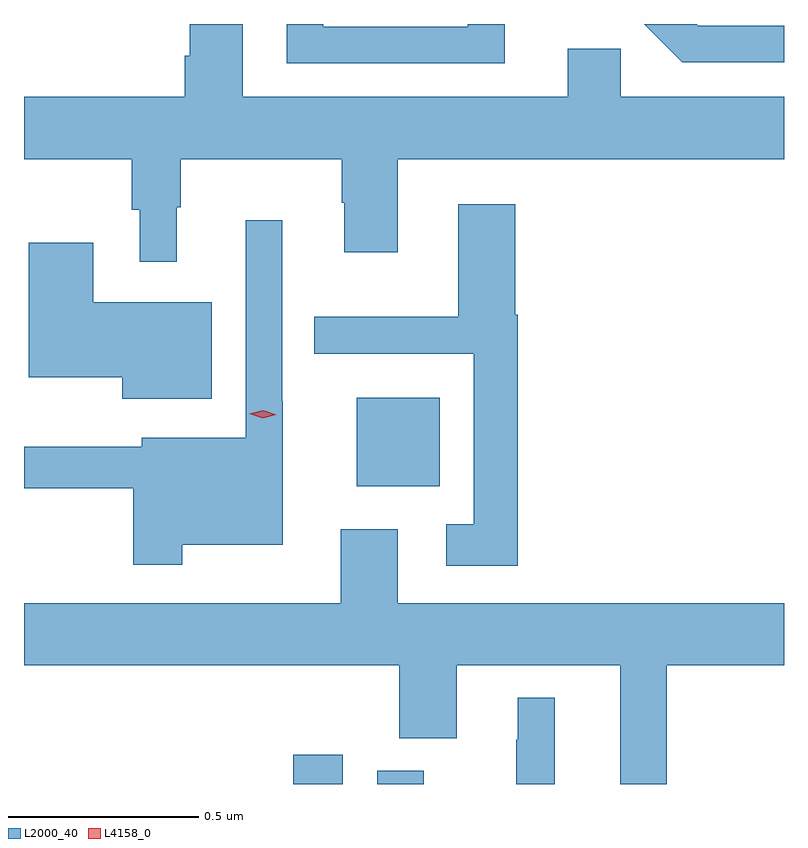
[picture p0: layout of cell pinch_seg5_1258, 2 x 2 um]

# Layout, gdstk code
import gdstk
lib = gdstk.Library(unit=1e-6, precision=1e-09)
def R(c, l, rs):  # rectangles x0, y0, x1, y1
    for r in rs: c.add(gdstk.rectangle(r[:2], r[2:], *l))
def P(c, l, *ps):  # polygons
    for p in ps: c.add(gdstk.Polygon(p, *l))
L2000_40 = (2000, 40)
L4158_0 = (4158, 0)

pinch_seg5_1258 = lib.new_cell('pinch_seg5_1258')
R(pinch_seg5_1258, L2000_40, [(490.592,884.42,490.723,884.497), (490.814,884.42,490.936,884.455), (490.76,885.203,490.978,885.436)])
P(pinch_seg5_1258, L2000_40, [(490.286,885.938),(490.297,885.938),(490.297,886.064),(490.72,886.064),(490.72,885.95),(490.727,885.95),(490.727,885.819),(490.867,885.819),(490.867,886.064),(491.884,886.064),(491.884,886.228),(491.454,886.228),(491.454,886.355),(491.315,886.355),(491.315,886.228),(490.459,886.228),(490.459,886.42),(490.32,886.42),(490.32,886.337),(490.307,886.337),(490.307,886.228),(489.884,886.228),(489.884,886.064),(490.168,886.064),(490.168,885.931),(490.188,885.931),(490.188,885.795),(490.286,885.795)],
  [(491.149,886.42),(491.052,886.42),(491.052,886.413),(490.671,886.413),(490.671,886.42),(490.575,886.42),(490.575,886.317),(491.149,886.317)],
  [(491.884,886.416),(491.658,886.416),(491.654,886.42),(491.516,886.42),(491.616,886.32),(491.884,886.32)],
  [(491.183,885.655),(491.177,885.655),(491.177,885.946),(491.027,885.946),(491.027,885.649),(490.648,885.649),(490.648,885.552),(491.067,885.552),(491.067,885.103),(490.995,885.103),(490.995,884.994),(491.183,884.994)],
  [(490.3,885.05),(490.565,885.05),(490.565,885.427),(490.563,885.427),(490.563,885.904),(490.467,885.904),(490.467,885.331),(490.194,885.331),(490.194,885.308),(489.884,885.308),(489.884,885.198),(490.171,885.198),(490.171,884.997),(490.3,884.997)],
  [(490.378,885.688),(490.066,885.688),(490.066,885.844),(489.896,885.844),(489.896,885.491),(490.142,885.491),(490.142,885.434),(490.378,885.434)],
  [(491.576,884.732),(491.884,884.732),(491.884,884.896),(490.867,884.896),(490.867,885.091),(490.718,885.091),(490.718,884.896),(489.884,884.896),(489.884,884.732),(490.871,884.732),(490.871,884.54),(491.023,884.54),(491.023,884.732),(491.453,884.732),(491.453,884.42),(491.576,884.42)],
  [(491.281,884.647),(491.183,884.647),(491.183,884.537),(491.179,884.537),(491.179,884.42),(491.281,884.42)])
P(pinch_seg5_1258, L4158_0, [(490.512,885.383),(490.477,885.395),(490.476,885.395),(490.477,885.395),(490.513,885.403),(490.548,885.392),(490.548,885.392),(490.548,885.392)])

lib.write_gds('pinch_seg5_1258.gds')
